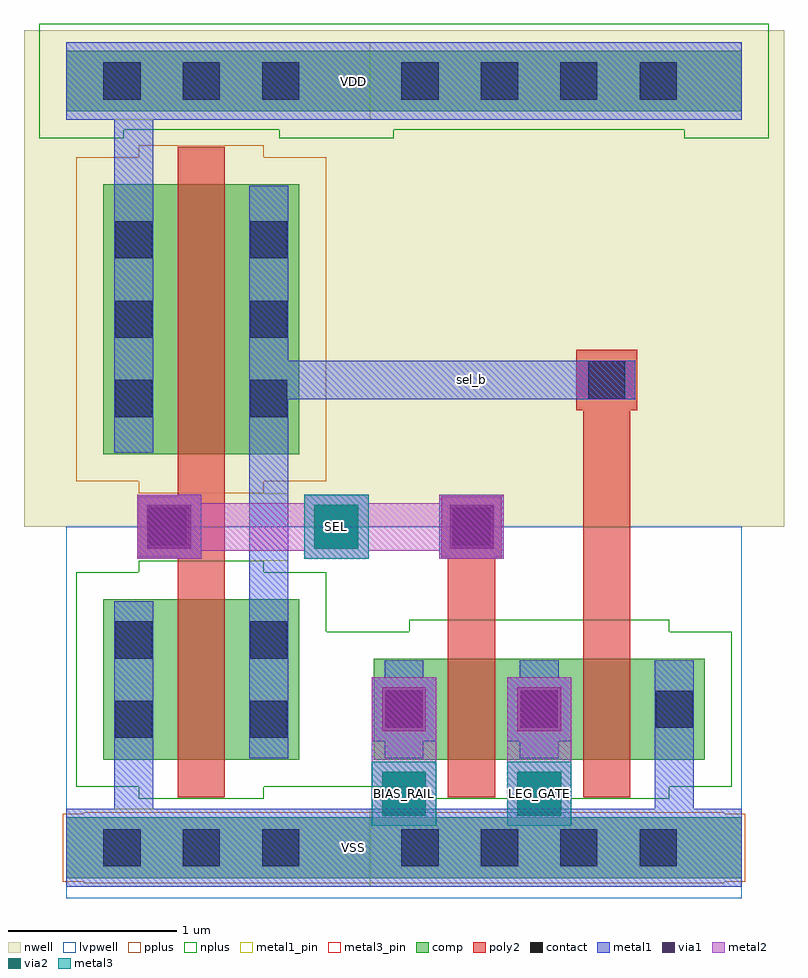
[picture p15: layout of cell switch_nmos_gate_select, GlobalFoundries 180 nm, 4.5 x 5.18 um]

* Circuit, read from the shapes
.subckt switch_nmos_gate_select BIAS_RAIL LEG_GATE SEL VDD VSS sel_b
XM1 sel_b SEL VSS VSS nfet_03v3 w=0.95u l=0.28u
XM2 LEG_GATE SEL BIAS_RAIL VSS nfet_03v3 w=0.6u l=0.28u
XM3 VSS sel_b LEG_GATE VSS nfet_03v3 w=0.6u l=0.28u
XM4 sel_b SEL VDD VDD pfet_03v3 w=1.6u l=0.28u
.ends

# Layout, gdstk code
import gdstk
lib = gdstk.Library(unit=1e-6, precision=1e-09)
def R(c, l, rs):  # rectangles x0, y0, x1, y1
    for r in rs: c.add(gdstk.rectangle(r[:2], r[2:], *l))
def A(c, l, x, y, w, h, nx, ny, dx, dy):  # array of equal rectangles
    R(c, l, [(x+i*dx, y+j*dy, x+i*dx+w, y+j*dy+h) for i in range(nx) for j in range(ny)])
nwell = (21, 0)
comp = (22, 0)
poly2 = (30, 0)
pplus = (31, 0)
nplus = (32, 0)
contact = (33, 0)
metal1 = (34, 0)
metal1_pin = (34, 10)
via1 = (35, 0)
metal2 = (36, 0)
via2 = (38, 0)
metal3 = (42, 0)
metal3_pin = (42, 10)
lvpwell = (204, 0)

logic_inverter_1x = lib.new_cell('logic_inverter_1x')
R(logic_inverter_1x, nwell, [(-0.25,2.13,1.85,5.07)])
R(logic_inverter_1x, comp, [(0,0.05,1.6,0.41), (0.22,0.75,1.38,1.7), (0.22,2.56,1.38,4.16), (0,4.59,1.6,4.95)])
R(logic_inverter_1x, poly2, [(0.66,0.53,0.94,1.95), (0.42,1.95,0.94,2.31), (0.66,2.31,0.94,4.38)])
R(logic_inverter_1x, pplus, [(0.105,0.02,1.495,0.03), (-0.02,0.03,1.62,0.43), (0.105,0.43,1.495,0.44), (0.43,2.33,1.17,2.4), (0.06,2.4,1.54,4.32), (0.43,4.32,1.17,4.39)])
R(logic_inverter_1x, nplus, [(0.43,0.52,1.17,0.59), (0.06,0.59,1.54,1.86), (0.43,1.86,1.17,1.93), (-0.16,4.43,0.34,4.48), (1.26,4.43,1.76,4.48), (-0.16,4.48,1.76,5.11)])
A(logic_inverter_1x, contact, 0.22, 0.12, 0.22, 0.22, 3, 2, 0.47, 4.54)
A(logic_inverter_1x, contact, 0.29, 2.78, 0.22, 0.22, 1, 3, 0, 0.47)
A(logic_inverter_1x, contact, 1.09, 2.78, 0.22, 0.22, 1, 3, 0, 0.47)
R(logic_inverter_1x, contact, [(0.29,0.88,0.51,1.1), (1.09,0.88,1.31,1.1), (0.29,1.35,0.51,1.57), (1.09,1.35,1.31,1.57), (0.49,2.02,0.71,2.24)])
R(logic_inverter_1x, metal1, [(0,0,1.6,0.46), (0.285,0.46,0.515,1.69), (1.085,0.76,1.315,4.15), (0.42,1.94,0.8,2.32), (0.285,2.57,0.515,4.54), (0,4.54,1.6,5)])
R(logic_inverter_1x, metal1_pin, [(0,0,1.6,0.46), (1.085,1.93,1.315,2.33), (0.42,1.94,0.8,2.32), (0,4.54,1.6,5)])
R(logic_inverter_1x, lvpwell, [(0,-0.07,1.6,2.13)])
logic_inverter_1x.add(gdstk.Label('VSS', (0.8,0.23), layer=34, texttype=10))
logic_inverter_1x.add(gdstk.Label('VDD', (0.8,4.77), layer=34, texttype=10))
logic_inverter_1x.add(gdstk.Label('OUT', (1.2,2.13), layer=34, texttype=10))
logic_inverter_1x.add(gdstk.Label('IN', (0.61,2.13), layer=34, texttype=10))

switch_nmos_gate_select = lib.new_cell('switch_nmos_gate_select')
R(switch_nmos_gate_select, nwell, [(1.35,2.13,4.25,5.07)])
R(switch_nmos_gate_select, comp, [(1.6,0.05,4,0.41), (1.82,0.75,3.78,1.35), (1.6,4.59,4,4.95)])
R(switch_nmos_gate_select, poly2, [(2.26,0.53,2.54,1.95), (3.06,0.53,3.34,2.82), (2.22,1.95,2.58,2.31), (3.02,2.82,3.38,3.18)])
R(switch_nmos_gate_select, pplus, [(1.495,0.02,3.895,0.03), (1.58,0.03,4.02,0.43), (1.495,0.43,3.895,0.44)])
R(switch_nmos_gate_select, nplus, [(2.03,0.52,3.57,0.59), (1.54,0.59,3.94,1.51), (2.03,1.51,3.57,1.58), (1.44,4.43,1.94,4.48), (3.66,4.43,4.16,4.48), (1.44,4.48,4.16,5.11)])
A(switch_nmos_gate_select, contact, 1.985, 0.12, 0.22, 0.22, 4, 2, 0.47, 4.54)
A(switch_nmos_gate_select, contact, 1.89, 0.94, 0.22, 0.22, 3, 1, 0.8, 0)
R(switch_nmos_gate_select, contact, [(2.29,2.02,2.51,2.24), (3.09,2.89,3.31,3.11)])
R(switch_nmos_gate_select, metal1, [(1.6,0,4,0.46), (3.485,0.46,3.715,1.34), (1.885,0.76,2.115,0.86), (2.685,0.76,2.915,0.86), (1.81,0.86,2.19,1.24), (2.61,0.86,2.99,1.24), (1.885,1.24,2.115,1.34), (2.685,1.24,2.915,1.34), (0.42,1.94,0.8,2.32), (2.21,1.94,2.59,2.32), (1.085,2.885,3.37,3.115), (1.6,4.54,4,5)])
R(switch_nmos_gate_select, metal1_pin, [(1.6,0,1.8,0.46), (1.6,4.54,1.8,5)])
R(switch_nmos_gate_select, via1, [(1.87,0.92,2.13,1.18), (2.67,0.92,2.93,1.18), (0.48,2,0.74,2.26), (2.27,2,2.53,2.26)])
R(switch_nmos_gate_select, metal2, [(1.81,0.36,2.19,1.24), (2.61,0.36,2.99,1.24), (0.42,1.94,0.8,1.99), (1.41,1.94,1.79,1.99), (2.21,1.94,2.59,1.99), (0.42,1.99,2.59,2.27), (0.42,2.27,0.8,2.32), (1.41,2.27,1.79,2.32), (2.21,2.27,2.59,2.32)])
R(switch_nmos_gate_select, via2, [(1.87,0.42,2.13,0.68), (2.67,0.42,2.93,0.68), (1.47,2,1.73,2.26)])
R(switch_nmos_gate_select, metal3, [(1.81,0.36,2.19,0.74), (2.61,0.36,2.99,0.74), (1.41,1.94,1.79,2.32)])
R(switch_nmos_gate_select, metal3_pin, [(1.81,0.36,2.19,0.74), (2.61,0.36,2.99,0.74), (1.41,1.94,1.79,2.32)])
R(switch_nmos_gate_select, lvpwell, [(1.6,-0.07,4,2.13)])
switch_nmos_gate_select.add(gdstk.Reference(logic_inverter_1x, (0,0)))
switch_nmos_gate_select.add(gdstk.Label('sel_b', (2.4,3), layer=34, texttype=0))
switch_nmos_gate_select.add(gdstk.Label('VSS', (1.7,0.23), layer=34, texttype=10))
switch_nmos_gate_select.add(gdstk.Label('VDD', (1.7,4.77), layer=34, texttype=10))
switch_nmos_gate_select.add(gdstk.Label('SEL', (1.6,2.13), layer=42, texttype=10))
switch_nmos_gate_select.add(gdstk.Label('LEG_GATE', (2.8,0.55), layer=42, texttype=10))
switch_nmos_gate_select.add(gdstk.Label('BIAS_RAIL', (2,0.55), layer=42, texttype=10))

lib.write_gds('switch_nmos_gate_select.gds')
